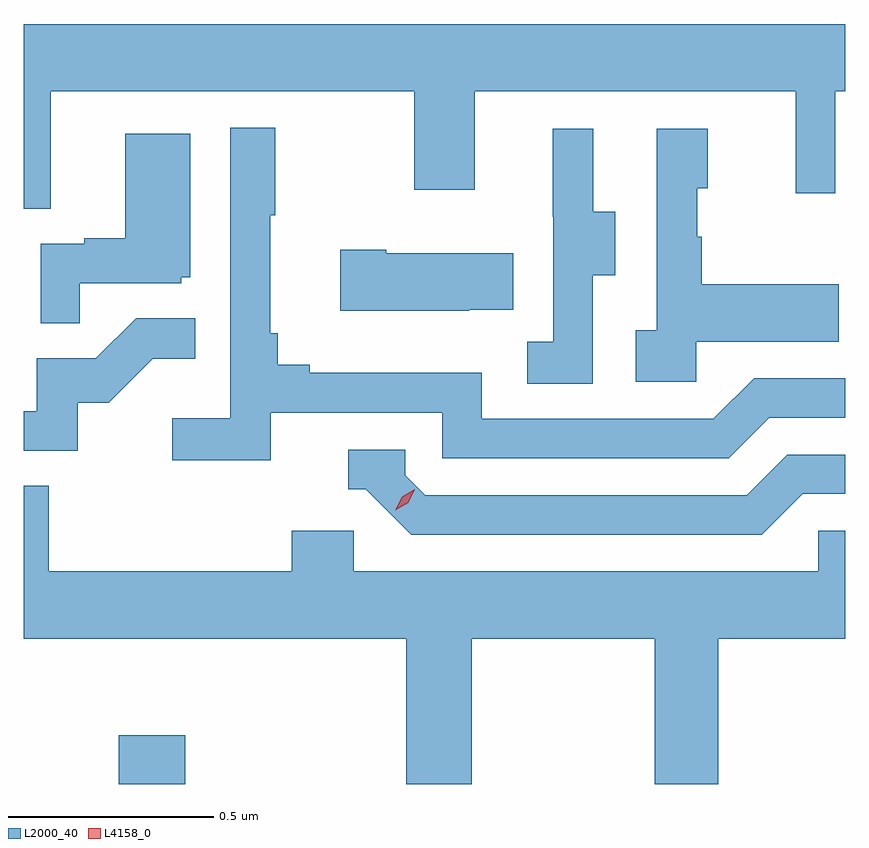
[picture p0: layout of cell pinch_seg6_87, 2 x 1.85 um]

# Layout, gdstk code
import gdstk
lib = gdstk.Library(unit=1e-6, precision=1e-09)
def R(c, l, rs):  # rectangles x0, y0, x1, y1
    for r in rs: c.add(gdstk.rectangle(r[:2], r[2:], *l))
def P(c, l, *ps):  # polygons
    for p in ps: c.add(gdstk.Polygon(p, *l))
L2000_40 = (2000, 40)
L4158_0 = (4158, 0)

pinch_seg6_87 = lib.new_cell('pinch_seg6_87')
R(pinch_seg6_87, L2000_40, [(936.335,927.002,936.496,927.121)])
P(pinch_seg6_87, L2000_40, [(936.169,928.688),(937.054,928.688),(937.054,928.449),(937.201,928.449),(937.201,928.688),(937.982,928.688),(937.982,928.44),(938.079,928.44),(938.079,928.688),(938.103,928.688),(938.103,928.852),(936.103,928.852),(936.103,928.402),(936.169,928.402)],
  [(936.704,927.906),(937.122,927.906),(937.122,927.795),(937.819,927.795),(937.918,927.894),(938.103,927.894),(938.103,927.99),(937.881,927.99),(937.782,927.891),(937.218,927.891),(937.218,928.003),(936.799,928.003),(936.799,928.022),(936.722,928.022),(936.722,928.099),(936.703,928.099),(936.703,928.387),(936.715,928.387),(936.715,928.6),(936.606,928.6),(936.606,927.892),(936.465,927.892),(936.465,927.79),(936.704,927.79)],
  [(937.74,928.079),(938.087,928.079),(938.087,928.219),(937.753,928.219),(937.753,928.334),(937.743,928.334),(937.743,928.452),(937.768,928.452),(937.768,928.597),(937.644,928.597),(937.644,928.106),(937.593,928.106),(937.593,927.981),(937.74,927.981)],
  [(937.488,928.24),(937.543,928.24),(937.543,928.395),(937.489,928.395),(937.489,928.597),(937.391,928.597),(937.391,928.383),(937.392,928.383),(937.392,928.079),(937.329,928.079),(937.329,927.976),(937.488,927.976)],
  [(936.239,928.221),(936.486,928.221),(936.486,928.236),(936.508,928.236),(936.508,928.585),(936.35,928.585),(936.35,928.33),(936.251,928.33),(936.251,928.317),(936.144,928.317),(936.144,928.123),(936.239,928.123)],
  [(937.187,928.157),(937.295,928.157),(937.295,928.294),(936.985,928.294),(936.985,928.302),(936.873,928.302),(936.873,928.154),(937.187,928.154)],
  [(936.234,927.93),(936.31,927.93),(936.417,928.037),(936.521,928.037),(936.521,928.136),(936.377,928.136),(936.279,928.038),(936.135,928.038),(936.135,927.909),(936.103,927.909),(936.103,927.813),(936.234,927.813)],
  [(937.999,927.708),(938.103,927.708),(938.103,927.804),(937.962,927.804),(937.863,927.705),(937.08,927.705),(937.032,927.753),(937.032,927.816),(936.893,927.816),(936.893,927.72),(936.936,927.72),(937.047,927.609),(937.9,927.609)],
  [(937.194,927.356),(937.639,927.356),(937.639,927.002),(937.794,927.002),(937.794,927.356),(938.103,927.356),(938.103,927.618),(938.037,927.618),(938.037,927.52),(936.906,927.52),(936.906,927.618),(936.755,927.618),(936.755,927.52),(936.164,927.52),(936.164,927.728),(936.103,927.728),(936.103,927.356),(937.034,927.356),(937.034,927.002),(937.194,927.002)])
P(pinch_seg6_87, L4158_0, [(937.008,927.668),(937.008,927.668),(937.024,927.701),(937.055,927.72),(937.055,927.72),(937.055,927.72),(937.039,927.687),(937.008,927.668)])

lib.write_gds('pinch_seg6_87.gds')
